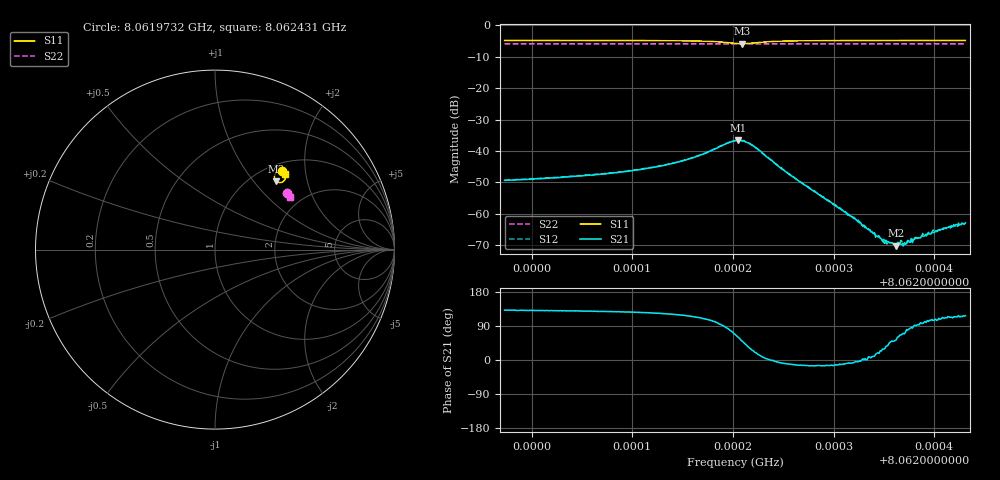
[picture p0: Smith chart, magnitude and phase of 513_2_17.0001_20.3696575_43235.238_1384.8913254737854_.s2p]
#  HZ  S  RI  R  50.00
! Rohde & Schwarz Vector Network Analyzer
! Rohde-Schwarz,ZNB20-2Port,1311601062101988,3.16
! Created: UTC 3/20/2024, 11:15:05 PM
! freq[Hz]  re:S11  im:S11  re:S21  im:S21  re:S12  im:S12  re:S22  im:S22
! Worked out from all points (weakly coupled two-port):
!   401 points, 8.0619732 GHz to 8.062431 GHz, reference 50 ohm
!   highest |S21| = -36.62 dB at 8.0622056 GHz (marker M1); lowest = -70.2 dB at 8.0623624 GHz (marker M2)
!   lowest |S11| = -5.8 dB at 8.062209 GHz (marker M3), VSWR 3.10, Z = 63.8 + j65.8 ohm
!   |S11| at or under -10 dB: nowhere
!   |S22| runs from -5.9 to -5.8 dB; largest |S21 - S12| = 0.001
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8.0619732e9  0.3752 0.4372  -0.00226 0.00255  -0.00212 0.00269  0.4028 0.3129
8.06204989e9  0.3812 0.4313  -0.00255 0.00313  -0.00238 0.00326  0.4055 0.309
8.06208308e9  0.3842 0.4278  -0.00273 0.00358  -0.00253 0.00377  0.4067 0.3073
8.06212657e9  0.3889 0.4208  -0.00312 0.00475  -0.00286 0.00504  0.4083 0.3049
8.0621632e9  0.3928 0.4071  -0.0032 0.00746  -0.00279 0.0077  0.4096 0.3025
8.06220212e9  0.3592 0.3736  0.0055 0.0135  0.00626 0.0133  0.4089 0.2996
8.06220555e9  0.35 0.3758  0.00746 0.0127  0.00829 0.0123  0.4086 0.2996
8.06220898e9  0.3415 0.3811  0.00917 0.0112  0.01 0.0108  0.4083 0.2997
8.06221585e9  0.3315 0.3975  0.0111 0.00729  0.0116 0.00675  0.4083 0.3004
8.06222272e9  0.332 0.4137  0.0106 0.00375  0.0109 0.00314  0.4089 0.3009
8.06225248e9  0.3581 0.4356  0.0046 -0.000778  0.00461 -0.0011  0.4115 0.2998
8.06227881e9  0.3701 0.4349  0.00229 -0.000613  0.00232 -0.000774  0.4128 0.2986
8.0623223e9  0.3795 0.4313  0.000801 -4.9e-05  0.000805 -0.000113  0.4146 0.2961
8.06234863e9  0.3829 0.4291  0.000322 0.000176  0.000353 0.000131  0.4155 0.2948
8.06235549e9  0.3838 0.4287  0.000242 0.000247  0.000276 0.00021  0.416 0.2944
8.06236007e9  0.3843 0.4283  0.000209 0.000248  0.000216 0.000222  0.416 0.294
8.06236236e9  0.3844 0.4282  0.000185 0.000249  0.000194 0.000242  0.4161 0.2939
8.06236923e9  0.3853 0.4277  0.000113 0.000314  8.72e-05 0.000292  0.4162 0.2936
8.06237152e9  0.3855 0.4274  9.29e-05 0.000308  0.00012 0.000346  0.4163 0.2934
8.06239098e9  0.3872 0.4262  -8.79e-05 0.000443  -5.89e-05 0.000462  0.4171 0.2926
8.062407e9  0.3888 0.4252  -0.000181 0.000534  -0.000184 0.000547  0.4177 0.2916
8.06243104e9  0.3907 0.4235  -0.000323 0.000635  -0.000239 0.000666  0.4184 0.2903
